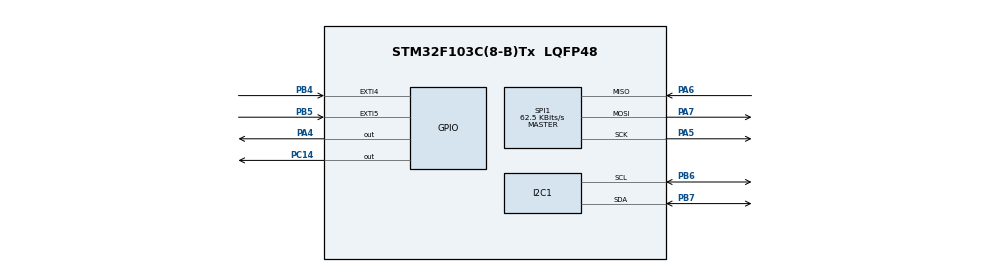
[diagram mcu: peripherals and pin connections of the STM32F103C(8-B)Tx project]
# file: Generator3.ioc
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Mcu.Family=STM32F1
Mcu.Name=STM32F103C(8-B)Tx
Mcu.Package=LQFP48
NVIC.EXTI4_IRQn=true\:0\:0\:false\:false\:true\:true\:true\:true
NVIC.EXTI9_5_IRQn=true\:0\:0\:false\:false\:true\:true\:true\:true
NVIC.PriorityGroup=NVIC_PRIORITYGROUP_4
PA13.Mode=Serial_Wire
PA13.Signal=SYS_JTMS-SWDIO
PA14.Mode=Serial_Wire
PA14.Signal=SYS_JTCK-SWCLK
PA4.Signal=GPIO_Output
PA5.Mode=Full_Duplex_Master
PA5.Signal=SPI1_SCK
PA6.Mode=Full_Duplex_Master
PA6.Signal=SPI1_MISO
PA7.Mode=Full_Duplex_Master
PA7.Signal=SPI1_MOSI
PB4.GPIO_PuPd=GPIO_PULLUP
PB4.Signal=GPXTI4
PB5.GPIO_PuPd=GPIO_PULLUP
PB5.Signal=GPXTI5
PB6.Mode=I2C
PB6.Signal=I2C1_SCL
PB7.Mode=I2C
PB7.Signal=I2C1_SDA
PC14-OSC32_IN.Signal=GPIO_Output
ProjectManager.HeapSize=0x200
ProjectManager.StackSize=0x400
ProjectManager.TargetToolchain=STM32CubeIDE
RCC.APB1Freq_Value=8000000
RCC.APB2Freq_Value=8000000
SPI1.BaudRatePrescaler=SPI_BAUDRATEPRESCALER_128
SPI1.CLKPolarity=SPI_POLARITY_HIGH
SPI1.CalculateBaudRate=62.5 KBits/s
SPI1.DataSize=SPI_DATASIZE_8BIT
SPI1.Direction=SPI_DIRECTION_2LINES
SPI1.Mode=SPI_MODE_MASTER
SPI1.VirtualType=VM_MASTER
board=custom

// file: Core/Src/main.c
/* USER CODE BEGIN Header */
/**
  ******************************************************************************
  * @file           : main.c
  * @brief          : Main program body
  ******************************************************************************
  * @attention
  *
  * Copyright (c) 2026 STMicroelectronics.
  * All rights reserved.
  *
  * This software is licensed under terms that can be found in the LICENSE file
  * in the root directory of this software component.
  * If no LICENSE file comes with this software, it is provided AS-IS.
  *
  ******************************************************************************
  */
/* USER CODE END Header */
#include "main.h"

/* USER CODE BEGIN Includes */
#include "siggen.h"
/* USER CODE END Includes */

I2C_HandleTypeDef hi2c1;

SPI_HandleTypeDef hspi1;

/* USER CODE BEGIN PV */
SigGen_t siggen =
{
    .inc = INC_1,
    .wave = AD9833_WAVE_SIN,
	.mode = MODE_INC,
	.freq_val = 10
};

volatile uint8_t flag_update_ad9833 = 1;
volatile uint8_t flag_action = 0;
volatile uint8_t flag_mode_change = 0;
volatile uint8_t flag_lcd_update = 1;

/* USER CODE END PV */

void SystemClock_Config(void);
static void MX_GPIO_Init(void);
static void MX_I2C1_Init(void);
static void MX_SPI1_Init(void);

int main(void)
{

  /* MCU Configuration--------------------------------------------------------*/

  /* Reset of all peripherals, Initializes the Flash interface and the Systick. */
  HAL_Init();

  /* Configure the system clock */
  SystemClock_Config();

  /* Initialize all configured peripherals */
  MX_GPIO_Init();
  MX_I2C1_Init();
  MX_SPI1_Init();

  /* USER CODE BEGIN 2 */
  HAL_Delay(200);
  LCDInit();

  /* USER CODE END 2 */

  /* Infinite loop */
  /* USER CODE BEGIN WHILE */
  while (1)
  {

	   if (flag_update_ad9833){
	      flag_update_ad9833 = 0;
	      SigGen_Update(&siggen);
	      flag_lcd_update = 1;
	    }

	  if(flag_mode_change == 1){
		  flag_mode_change = 0;
		  SigGen_NextMode(&siggen);
		  flag_lcd_update = 1;
	  }

	  if(flag_action == 1){
		  flag_action = 0;
		  switch (siggen.mode){
			case MODE_INC:
			    SigGen_NextInc(&siggen);
			    break;

			case MODE_WAVE:
			    SigGen_NextWave(&siggen);
			    break;

			case MODE_FREQ:
			default:
			    SigGen_NextFreq(&siggen);
			    break;
		  }
	      flag_update_ad9833 = 1;
		  flag_lcd_update = 1;
	  }

  	  if(flag_lcd_update == 1){
    	flag_lcd_update = 0;
  		LCD_Update(&siggen);

  	  }

  	//__WFI();

  }
    /* USER CODE END WHILE */

}

void SystemClock_Config(void)
{
  RCC_OscInitTypeDef RCC_OscInitStruct = {0};
  RCC_ClkInitTypeDef RCC_ClkInitStruct = {0};

  /** Initializes the RCC Oscillators according to the specified parameters
  * in the RCC_OscInitTypeDef structure.
  */
  RCC_OscInitStruct.OscillatorType = RCC_OSCILLATORTYPE_HSI;
  RCC_OscInitStruct.HSIState = RCC_HSI_ON;
  RCC_OscInitStruct.HSICalibrationValue = RCC_HSICALIBRATION_DEFAULT;
  RCC_OscInitStruct.PLL.PLLState = RCC_PLL_NONE;
  if (HAL_RCC_OscConfig(&RCC_OscInitStruct) != HAL_OK)
  {
    Error_Handler();
  }

  /** Initializes the CPU, AHB and APB buses clocks
  */
  RCC_ClkInitStruct.ClockType = RCC_CLOCKTYPE_HCLK|RCC_CLOCKTYPE_SYSCLK
                              |RCC_CLOCKTYPE_PCLK1|RCC_CLOCKTYPE_PCLK2;
  RCC_ClkInitStruct.SYSCLKSource = RCC_SYSCLKSOURCE_HSI;
  RCC_ClkInitStruct.AHBCLKDivider = RCC_SYSCLK_DIV1;
  RCC_ClkInitStruct.APB1CLKDivider = RCC_HCLK_DIV1;
  RCC_ClkInitStruct.APB2CLKDivider = RCC_HCLK_DIV1;

  if (HAL_RCC_ClockConfig(&RCC_ClkInitStruct, FLASH_LATENCY_0) != HAL_OK)
  {
    Error_Handler();
  }
}

static void MX_I2C1_Init(void)
{

  hi2c1.Instance = I2C1;
  hi2c1.Init.ClockSpeed = 100000;
  hi2c1.Init.DutyCycle = I2C_DUTYCYCLE_2;
  hi2c1.Init.OwnAddress1 = 0;
  hi2c1.Init.AddressingMode = I2C_ADDRESSINGMODE_7BIT;
  hi2c1.Init.DualAddressMode = I2C_DUALADDRESS_DISABLE;
  hi2c1.Init.OwnAddress2 = 0;
  hi2c1.Init.GeneralCallMode = I2C_GENERALCALL_DISABLE;
  hi2c1.Init.NoStretchMode = I2C_NOSTRETCH_DISABLE;
  if (HAL_I2C_Init(&hi2c1) != HAL_OK)
  {
    Error_Handler();
  }

}

static void MX_SPI1_Init(void)
{

  /* SPI1 parameter configuration*/
  hspi1.Instance = SPI1;
  hspi1.Init.Mode = SPI_MODE_MASTER;
  hspi1.Init.Direction = SPI_DIRECTION_2LINES;
  hspi1.Init.DataSize = SPI_DATASIZE_8BIT;
  hspi1.Init.CLKPolarity = SPI_POLARITY_HIGH;
  hspi1.Init.CLKPhase = SPI_PHASE_1EDGE;
  hspi1.Init.NSS = SPI_NSS_SOFT;
  hspi1.Init.BaudRatePrescaler = SPI_BAUDRATEPRESCALER_128;
  hspi1.Init.FirstBit = SPI_FIRSTBIT_MSB;
  hspi1.Init.TIMode = SPI_TIMODE_DISABLE;
  hspi1.Init.CRCCalculation = SPI_CRCCALCULATION_DISABLE;
  hspi1.Init.CRCPolynomial = 10;
  if (HAL_SPI_Init(&hspi1) != HAL_OK)
  {
    Error_Handler();
  }

}

static void MX_GPIO_Init(void)
{
  GPIO_InitTypeDef GPIO_InitStruct = {0};

  /* GPIO Ports Clock Enable */
  __HAL_RCC_GPIOC_CLK_ENABLE();
  __HAL_RCC_GPIOA_CLK_ENABLE();
  __HAL_RCC_GPIOB_CLK_ENABLE();

  /*Configure GPIO pin Output Level */
  HAL_GPIO_WritePin(GPIOC, GPIO_PIN_14, GPIO_PIN_RESET);

  /*Configure GPIO pin Output Level */
  HAL_GPIO_WritePin(GPIOA, GPIO_PIN_4, GPIO_PIN_RESET);

  /*Configure GPIO pin : PC14 */
  GPIO_InitStruct.Pin = GPIO_PIN_14;
  GPIO_InitStruct.Mode = GPIO_MODE_OUTPUT_PP;
  GPIO_InitStruct.Pull = GPIO_NOPULL;
  GPIO_InitStruct.Speed = GPIO_SPEED_FREQ_LOW;
  HAL_GPIO_Init(GPIOC, &GPIO_InitStruct);

  /*Configure GPIO pin : PA4 */
  GPIO_InitStruct.Pin = GPIO_PIN_4;
  GPIO_InitStruct.Mode = GPIO_MODE_OUTPUT_PP;
  GPIO_InitStruct.Pull = GPIO_NOPULL;
  GPIO_InitStruct.Speed = GPIO_SPEED_FREQ_LOW;
  HAL_GPIO_Init(GPIOA, &GPIO_InitStruct);

  /*Configure GPIO pins : PB4 PB5 */
  GPIO_InitStruct.Pin = GPIO_PIN_4|GPIO_PIN_5;
  GPIO_InitStruct.Mode = GPIO_MODE_IT_RISING;
  GPIO_InitStruct.Pull = GPIO_PULLUP;
  HAL_GPIO_Init(GPIOB, &GPIO_InitStruct);

  /* EXTI interrupt init*/
  HAL_NVIC_SetPriority(EXTI4_IRQn, 0, 0);
  HAL_NVIC_EnableIRQ(EXTI4_IRQn);

  HAL_NVIC_SetPriority(EXTI9_5_IRQn, 0, 0);
  HAL_NVIC_EnableIRQ(EXTI9_5_IRQn);

}

/* USER CODE BEGIN 4 */
/* ================= EXTI CALLBACK ================= */
void HAL_GPIO_EXTI_Callback(uint16_t GPIO_Pin)
{
    static uint32_t last_press = 0;

    if(HAL_GetTick() - last_press < 200)
        return;

    last_press = HAL_GetTick();

    if (GPIO_Pin == GPIO_PIN_5)
    {
        flag_action = 1;
    }
    else if (GPIO_Pin == GPIO_PIN_4)
    {
        flag_mode_change = 1;
    }
}
/* USER CODE END 4 */

void Error_Handler(void)
{
  __disable_irq();
  while (1)
  {
  }
}
